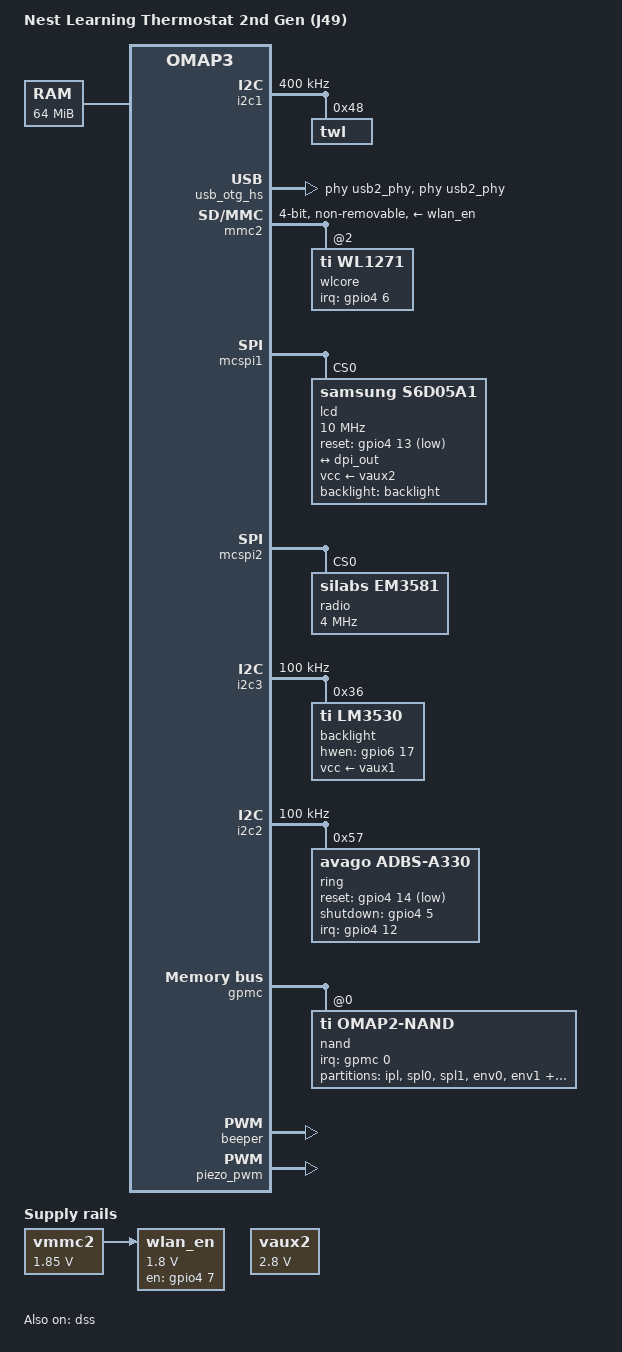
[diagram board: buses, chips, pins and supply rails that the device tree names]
// SPDX-License-Identifier: GPL-2.0-only
/*
 * Nest Learning Thermostat 2nd Gen (codename "diamond", j49)
 * SoC: OMAP3630 class (DM3730/AM3703), confirmed via CONTROL_IDCODE 0x2B89102F.
 * Minimal DT for modern-kernel first light via kexec: RAM, TWL4030 PMIC
 * (USB PHY + regulators), MUSB in peripheral mode for a USB-gadget console,
 * and ramoops + a DEBUG_LL DRAM ring as the hands-free log channels. No display/wifi/zigbee yet.
 */
/dts-v1/;

#include "omap36xx.dtsi"
#include <dt-bindings/interrupt-controller/irq.h>
#include <dt-bindings/gpio/gpio.h>
#include <dt-bindings/pinctrl/omap.h>

/ {
	model = "Nest Learning Thermostat 2nd Gen (J49)";
	compatible = "nest,j49", "ti,omap3630", "ti,omap36xx", "ti,omap3";

	cpus {
		cpu@0 {
			cpu0-supply = <&vcc>;
		};
	};

	memory@80000000 {
		device_type = "memory";
		reg = <0x80000000 0x04000000>; /* 64 MB */
	};

	reserved-memory {
		#address-cells = <1>;
		#size-cells = <1>;
		ranges;

		/*
		 * Post-mortem log regions, read back from stock via /dev/mem after the
		 * watchdog warm reset. They must sit ABOVE stock's RAM top (stock boots
		 * with mem=62M => 0x83e00000; its VRAM is the 2 MB just below that) and
		 * BELOW U-Boot's footprint: U-Boot relocates to the top of RAM and
		 * clears a ~500 KB framebuffer + heap/stack from ~0x83f03000 up to
		 * 0x84000000 on EVERY boot (measured 2026-10-27: markers at 0x83f10000+
		 * zeroed, stale data at 0x83e00000..0x83f00000 untouched). So the
		 * usable window is 0x83e00000..0x83f00000.
		 *
		 * ramoops: console-only 256 KB, ecc off (plain text). ramring: 64 KB
		 * DEBUG_LL ring (arch/arm/include/debug/ramring.S), deliberately NOT
		 * no-map so the linear mapping covers it after paging_init.
		 */
		ramoops@83e00000 {
			compatible = "ramoops";
			reg = <0x83e00000 0x00040000>; /* 256 KB, console-only */
			console-size = <0x00040000>;
		};

		ramring@83e80000 {
			reg = <0x83e80000 0x00010000>; /* 64 KB DEBUG_LL DRAM ring */
		};
	};

	chosen {
		/* No debug UART wired on this board: the panel (fbcon on tty0) is the console.
		 * Set here because stock u-boot 2012.10 has silent=1 in its default env, so its
		 * fixup_silent_linux() blanks any console= in bootargs (the kernel sees "console="
		 * = ttynull). NOTE: on a u-boot (ATAG) boot this property is only kept when the
		 * kernel has CONFIG_ARM_ATAG_DTB_COMPAT_CMDLINE_EXTEND=y (j49.cfg); with the
		 * default CMDLINE_FROM_BOOTLOADER the ATAG cmdline REPLACES it (seen 2026-11-07:
		 * backlight on, no text). A kexec boot passes its own cmdline and ignores this. */
		bootargs = "console=tty0";
	};
};

&i2c1 {
	/* 400 kHz, not the 2.6 MHz HS mode stock uses: with HS the TWL4030 NACKs
	 * every transfer after the first omap_i2c runtime-suspend (first-light log,
	 * 2026-10-27: "twl: Write failed (mod 0, reg 0xfd)", VUSB -EREMOTEIO), which
	 * also kills VBUS detection -> no g_serial enumeration. */
	clock-frequency = <400000>;
	/* Keep the I2C1 hwmod clocked and skip its (always failing, also on stock)
	 * softreset: on this board the TWL4030 NACKs on every slave address right
	 * after the first omap_i2c runtime-suspend/resume (first failure at the
	 * 2 s twl4030-usb link-status poll), which kills VBUS detection. */
	ti,no-idle;
	ti,no-reset-on-init;

	twl: twl@48 {
		reg = <0x48>;
		interrupts = <7>; /* SYS_NIRQ cascaded to intc */
		interrupt-parent = <&intc>;
		/* HFCLKIN = SYS_CLKOUT1 (19.2 MHz, PRM_CLKOUT_CTRL bit 7). clk_disable_unused()
		 * gated it in jumps 8-25 and took the PMIC off I2C1; twl-core now holds it
		 * (patch 0003) through this consumer reference. */
		clocks = <&sys_clkout1>;
		clock-names = "fck";
	};
};

#include "twl4030.dtsi"
#include "twl4030_omap3.dtsi"

&usb_otg_hs {
	interface-type = <0>;
	usb-phy = <&usb2_phy>;
	phys = <&usb2_phy>;
	phy-names = "usb2-phy";
	/* 3 = OTG. Was 2 (peripheral-only) so the gadget console always won. With
	 * OTG the role follows the ID pin: a floating ID (normal cable to a PC) is
	 * still peripheral, so boot behaviour is the same. It also lets us switch to
	 * host at runtime for a USB audio input:  echo host > .../musb-hdrc.0.auto/mode
	 * (untested on this PHY). The Nest cannot source VBUS: use a powered hub. */
	mode = <3>;
	power = <50>;
};

/* GPIO banks: the OMAP hwmod layer softresets every hwmod at init unless told
 * otherwise. On this board that wiped all stock GPIO outputs (USB-console
 * session 2026-10-28: all six banks OE=0xFFFFFFFF, DATAOUT=0 after kexec), which
 * powers down the I2C2/I2C3 sensors (ring 0x57, 0x36 both vanished), the LCD
 * and the backplate reset line. Keep the state the bootloader/stock left. */
&gpio1 { ti,no-reset-on-init; };
&gpio2 { ti,no-reset-on-init; };
&gpio3 { ti,no-reset-on-init; };
&gpio4 { ti,no-reset-on-init; };
&gpio5 { ti,no-reset-on-init; };
&gpio6 { ti,no-reset-on-init; };

/* The 0x36 device on I2C3 is powered from VAUX1 (3.0 V); stock's kexec shutdown
 * switches the LDO off and nothing in 6.6 claims it (USB session 3, 2026-10-28). */
&vaux1 {
	regulator-always-on;
};

/ {
	/* TI WL1271 power: stock drives gpio103 (its "vmmc2" GPIO) high; stock's
	 * kexec shutdown leaves it low. gpio4 bit 7 = gpio_103. */
	wlan_en: regulator-wlan-en {
		compatible = "regulator-fixed";
		regulator-name = "wlan_en";
		regulator-min-microvolt = <1800000>;
		regulator-max-microvolt = <1800000>;
		gpio = <&gpio4 7 GPIO_ACTIVE_HIGH>;
		startup-delay-us = <70000>;
		enable-active-high;
		/* Stock keeps the TWL4030 VMMC2 LDO at 1.8 V (DEV_GRP 0x2e, DEDICATED 0x05) and so does
		 * u-boot on a cold boot; tie it to WLAN_EN so the regulator core keeps it on instead of
		 * switching it off as "unused" at late init. NOTE: the cold-boot "mmc1: Failed to
		 * initialize a non-removable card" was NOT this LDO but CONTROL_DEVCONF1 bit 6
		 * (MMCSDIO2ADPCLKISEL), fixed by kernel patch 0007 (pdata-quirks, 2026-11-13). */
		vin-supply = <&vmmc2>;
	};
};

&vmmc2 {
	/* Stock programs VSEL 5 = 1.8 V, which twl-regulator.c marks UNSUP for VMMC2; the
	 * nearest supported step is 1.85 V (VSEL 6), inside the WL1271 VIO range (1.7-1.95 V). */
	regulator-min-microvolt = <1850000>;
	regulator-max-microvolt = <1850000>;
};

/* WL1271 on MMC2 (SDIO). With gpio103 high the card answered the SDIO init on
 * 6.6 but failed on "card claims to support voltages below defined range", the
 * classic missing-vmmc-supply symptom. IRQ = gpio102 ("WL127x IRQ", gpio4 bit 6,
 * level-high in stock's table). Ref clock: the board's sys clock is 19.2 MHz.
 * A cold u-boot boot additionally needs CONTROL_DEVCONF1.MMCSDIO2ADPCLKISEL (the MMC2
 * loopback input clock, set by stock, reset to 0 by a cold boot): without it the card
 * never answers ("Failed to initialize a non-removable card" at 1.6 s). Set by
 * pdata-quirks for "nest,j49" (patch 0007), the same quirk the Nokia N9/N950 use. */
&mmc2 {
	vmmc-supply = <&wlan_en>;
	bus-width = <4>;
	non-removable;
	cap-power-off-card;
	/* Keep the WL1271 powered and associated while the head unit is suspended, so a packet can
	 * wake it (stock: "wl1271_configure_wowlan ... pattern count 3"). Without this the driver
	 * does not offer wake-on-WLAN at all ("iw phy" shows none) and powers the chip off. */
	keep-power-in-suspend;
	#address-cells = <1>;
	#size-cells = <0>;
	wlcore: wlcore@2 {
		compatible = "ti,wl1271";
		reg = <2>;
		interrupt-parent = <&gpio4>;
		interrupts = <6 IRQ_TYPE_LEVEL_HIGH>;
		/* stock board-diamond.c display_2_0_net_init(): WL12XX_REFCLOCK_26_XTAL. With 19.2 MHz
			 * the firmware still "booted" but never raised its IRQ again (ELP wakeup timeout, jumps 39-44). */
			ref-clock-frequency = <26000000>;
			clock-xtal;
	};
};

/*
 * Display (stock board-diamond.c "DVT" data for the j49): Tianma TM025ZDZ01 320x320 module,
 * Samsung S6D05A1 controller on McSPI1 CS0 (9-bit SPI, mode 3, <= 10 MHz), pixels over
 * 24-bit DPI from the DSS. Reset = gpio109 active low (stock leaves it high), lcd_id = gpio105
 * (input, unused), panel VCC = TWL VAUX2 at 2.8 V ("lcd2v8"), DSS vdds_dsi = VPLL2.
 * Pad values follow the stock omap_mux dump (docs/hw/omap_mux.txt): mode 0 everywhere.
 */
&omap3_pmx_core {
	dss_dpi_pins: dss-dpi-pins {
		pinctrl-single,pins = <
			OMAP3_CORE1_IOPAD(0x20d4, PIN_OUTPUT | MUX_MODE0)   /* dss_pclk */
			OMAP3_CORE1_IOPAD(0x20d6, PIN_OUTPUT | MUX_MODE0)   /* dss_hsync */
			OMAP3_CORE1_IOPAD(0x20d8, PIN_OUTPUT | MUX_MODE0)   /* dss_vsync */
			OMAP3_CORE1_IOPAD(0x20da, PIN_OUTPUT | MUX_MODE0)   /* dss_acbias */
			OMAP3_CORE1_IOPAD(0x20dc, PIN_OUTPUT | MUX_MODE0)   /* dss_data0 */
			OMAP3_CORE1_IOPAD(0x20de, PIN_OUTPUT | MUX_MODE0)   /* dss_data1 */
			OMAP3_CORE1_IOPAD(0x20e0, PIN_OUTPUT | MUX_MODE0)   /* dss_data2 */
			OMAP3_CORE1_IOPAD(0x20e2, PIN_OUTPUT | MUX_MODE0)   /* dss_data3 */
			OMAP3_CORE1_IOPAD(0x20e4, PIN_OUTPUT | MUX_MODE0)   /* dss_data4 */
			OMAP3_CORE1_IOPAD(0x20e6, PIN_OUTPUT | MUX_MODE0)   /* dss_data5 */
			OMAP3_CORE1_IOPAD(0x20e8, PIN_OUTPUT | MUX_MODE0)   /* dss_data6 */
			OMAP3_CORE1_IOPAD(0x20ea, PIN_OUTPUT | MUX_MODE0)   /* dss_data7 */
			OMAP3_CORE1_IOPAD(0x20ec, PIN_OUTPUT | MUX_MODE0)   /* dss_data8 */
			OMAP3_CORE1_IOPAD(0x20ee, PIN_OUTPUT | MUX_MODE0)   /* dss_data9 */
			OMAP3_CORE1_IOPAD(0x20f0, PIN_OUTPUT | MUX_MODE0)   /* dss_data10 */
			OMAP3_CORE1_IOPAD(0x20f2, PIN_OUTPUT | MUX_MODE0)   /* dss_data11 */
			OMAP3_CORE1_IOPAD(0x20f4, PIN_OUTPUT | MUX_MODE0)   /* dss_data12 */
			OMAP3_CORE1_IOPAD(0x20f6, PIN_OUTPUT | MUX_MODE0)   /* dss_data13 */
			OMAP3_CORE1_IOPAD(0x20f8, PIN_OUTPUT | MUX_MODE0)   /* dss_data14 */
			OMAP3_CORE1_IOPAD(0x20fa, PIN_OUTPUT | MUX_MODE0)   /* dss_data15 */
			OMAP3_CORE1_IOPAD(0x20fc, PIN_OUTPUT | MUX_MODE0)   /* dss_data16 */
			OMAP3_CORE1_IOPAD(0x20fe, PIN_OUTPUT | MUX_MODE0)   /* dss_data17 */
			OMAP3_CORE1_IOPAD(0x2100, PIN_OUTPUT | MUX_MODE0)   /* dss_data18 */
			OMAP3_CORE1_IOPAD(0x2102, PIN_OUTPUT | MUX_MODE0)   /* dss_data19 */
			OMAP3_CORE1_IOPAD(0x2104, PIN_OUTPUT | MUX_MODE0)   /* dss_data20 */
			OMAP3_CORE1_IOPAD(0x2106, PIN_OUTPUT | MUX_MODE0)   /* dss_data21 */
			OMAP3_CORE1_IOPAD(0x2108, PIN_OUTPUT | MUX_MODE0)   /* dss_data22 */
			OMAP3_CORE1_IOPAD(0x210a, PIN_OUTPUT | MUX_MODE0)   /* dss_data23 */
		>;
	};

	mcspi1_pins: mcspi1-pins {
		pinctrl-single,pins = <
			OMAP3_CORE1_IOPAD(0x21c8, PIN_INPUT | MUX_MODE0)            /* mcspi1_clk */
			OMAP3_CORE1_IOPAD(0x21ca, PIN_OUTPUT | MUX_MODE0)           /* mcspi1_simo */
			OMAP3_CORE1_IOPAD(0x21cc, PIN_INPUT | MUX_MODE0)            /* mcspi1_somi */
			OMAP3_CORE1_IOPAD(0x21ce, PIN_INPUT_PULLDOWN | MUX_MODE0)   /* mcspi1_cs0 */
		>;
	};

	/*
	 * McSPI2 CS0 = EM357 Thread/ConnectIP radio (spinel NCP over SPI, stock
	 * /dev/spidev2.0). Pad values copied verbatim from the stock 2.6.37 board
	 * file (docs/hw/omap_mux.txt, stock-pads dump): clk/somi input mode0,
	 * simo/cs0 output mode0. CS0 stays MUX_MODE0 = McSPI hardware chipselect
	 * (the force-bootload trick in /etc/init.d/em357 temporarily flips this same
	 * pad to MODE4 = gpio181 to hold SS low; normal NCP traffic uses HW CS0).
	 */
	mcspi2_pins: mcspi2-pins {
		pinctrl-single,pins = <
			OMAP3_CORE1_IOPAD(0x21d6, PIN_INPUT | MUX_MODE0)    /* mcspi2_clk  */
			OMAP3_CORE1_IOPAD(0x21d8, PIN_OUTPUT | MUX_MODE0)   /* mcspi2_simo */
			OMAP3_CORE1_IOPAD(0x21da, PIN_INPUT | MUX_MODE0)    /* mcspi2_somi */
			OMAP3_CORE1_IOPAD(0x21dc, PIN_OUTPUT | MUX_MODE0)   /* mcspi2_cs0 (HW chipselect) */
		>;
	};
};

&vaux2 {
	regulator-min-microvolt = <2800000>;
	regulator-max-microvolt = <2800000>;
};

&dss {
	pinctrl-names = "default";
	pinctrl-0 = <&dss_dpi_pins>;
	status = "okay";
	vdds_dsi-supply = <&vpll2>;

	port {
		dpi_out: endpoint {
			remote-endpoint = <&lcd_in>;
			data-lines = <24>;
		};
	};
};

&mcspi1 {
	pinctrl-names = "default";
	pinctrl-0 = <&mcspi1_pins>;
	status = "okay";

	lcd: panel@0 {
		compatible = "samsung,s6d05a1";
		reg = <0>;
		spi-max-frequency = <10000000>;
		spi-cpol;
		spi-cpha;
		vcc-supply = <&vaux2>;
		reset-gpios = <&gpio4 13 GPIO_ACTIVE_LOW>;	/* gpio109 LCD #RESET */
		backlight = <&backlight>;
		label = "lcd";

		port {
			lcd_in: endpoint {
				remote-endpoint = <&dpi_out>;
			};
		};
	};
};

/*
 * McSPI2 CS0 = EM357 Thread radio (spinel NCP over SPI). This is the stock
 * /dev/spidev2.0 (McSPI2 @ 0x4809a000, CS0). The on-chip firmware is Nest
 * "ConnectIP" (ip-modem-app.bin), already flashed; no radio reflash is needed.
 *
 * Driver binding: "silabs,em3581" is on the upstream spidev of_device_id
 * whitelist (drivers/spi/spidev.c spidev_dt_ids in 6.6.64) -- it is the Silabs
 * Ember NCP entry, so the spidev driver binds to this node WITHOUT any driver
 * patch and WITHOUT a manual /sys/bus/spi/drivers/spidev/bind step, giving
 * /dev/spidev2.0. CONFIG_SPI_SPIDEV=y is set in j49.cfg.
 *
 * Chipselect: HW CS0 (mcspi2_cs0 pad MUX_MODE0), matching stock. spi-server
 * opens /dev/spidev2.0 and sets the real SPI speed/mode via ioctl, so
 * spi-max-frequency here is only the ceiling. The radio reset(gpio61),
 * host interrupt(gpio182) and wake lines are driven by spi-server from
 * userspace via sysfs-exported GPIOs -- they are NOT claimed in this node, and
 * their pads are muxed as GPIO (MODE4) by nest_core_pins below.
 */
&mcspi2 {
	pinctrl-names = "default";
	pinctrl-0 = <&mcspi2_pins>;
	status = "okay";

	radio@0 {
		compatible = "silabs,em3581";
		reg = <0>;			/* HW chipselect CS0 */
		spi-max-frequency = <4000000>;	/* ceiling only; spi-server sets the real rate/mode */
	};
};

/*
 * Backlight: LM3530 on I2C3 at 0x36 in manual I2C mode (stock lm3530-backlight.0:
 * GEN_CONFIG 0x1d = 29.5 mA full scale, max 0x78, cmdline brightness=108). HWEN is
 * gpio177 (gpio6 bit 17, stock "lm3530 enable" high) and the chip is powered from
 * VAUX1: it only answers on the bus with both asserted (USB session 3 / jump 36).
 * Stock's kexec shutdown leaves gpio177 low, so the driver must raise it itself.
 */
&i2c3 {
	clock-frequency = <100000>;	/* default that the 6.6 USB sessions scanned 0x36 with */

	backlight: backlight@36 {
		compatible = "ti,lm3530";
		reg = <0x36>;
		hwen-gpios = <&gpio6 17 GPIO_ACTIVE_HIGH>;	/* gpio177 */
		vcc-supply = <&vaux1>;
		default-brightness = <108>;
		max-brightness = <120>;
	};
};

/*
 * Ring rotation: Avago ADBS-A330 optical finger-nav sensor on I2C2 at 0x57
 * (driver patch 0008, compatible "avago,adbs-a330"; reports REL_X/REL_Y on its
 * MOTION# interrupt). The i2c2 pads are already hogged MODE0 in nest_core_pins,
 * and MOTION#/RESET#/SHUTDOWN are muxed as GPIO (MODE4) there too, so this node
 * needs no pinctrl of its own. gpio bank4 base = gpio96.
 */
&i2c2 {
	clock-frequency = <100000>;

	ring: ring-sensor@57 {
		compatible = "avago,adbs-a330";
		reg = <0x57>;
		interrupts-extended = <&gpio4 12 IRQ_TYPE_EDGE_FALLING>;	/* MOTION# gpio108 (cam_d9) */
		reset-gpios = <&gpio4 14 GPIO_ACTIVE_LOW>;		/* RESET#  gpio110 (cam_d11) */
		shutdown-gpios = <&gpio4 5 GPIO_ACTIVE_HIGH>;		/* SHUTDOWN gpio101 (cam_d2) */
		wakeup-source;
	};
};

/*
 * NAND: Micron MT29F2G16ABBEAH4 (256 MiB, 16-bit) on GPMC CS0, stock layout from
 * board-diamond.c / docs/flash-layout.md. DISABLED until the ECC format is sorted
 * out: stock 2.6.37 uses OMAP_ECC_BCH4_CODE_HW = raw GPMC BCH4 syndromes (7 B per
 * 512 B sector, 28 B per page) stored at the END of the 64 B OOB (bytes 36..63),
 * no constant polynomial. Mainline's "bch4" (BCH4_CODE_HW_DETECTION_SW, no ELM on
 * OMAP3) puts the 28 B right after the bad-block marker (2..29) and adds the
 * erased-page polynomial, so it cannot read stock partitions nor write a B slot
 * the stock U-Boot can boot. Needs a compat ECC variant in omap2.c first.
 * GPMC timings below are the omap3-beagle (Micron) values, to be replaced by the
 * live GPMC_CONFIG1..6 of CS0 (0x6e000060..0x74) read from stock.
 */
/* cpufreq: OPP50 300 MHz and OPP100 600 MHz are proven on this board (jump 66: VDD1 via the
 * twl regulator follows, 1.0125 / 1.200 V). OPP130 800 MHz (1.325 V + ABB forward body bias)
 * kills the CPU silently the moment it is selected (jumps 60/61/66) and ondemand picks the
 * max OPP under boot load, so keep it out until the ABB/voltage path is understood. */
&cpu0_opp_table {
	/* Run OPP50 at the OPP100 voltage. The twl regulator has no ramp_delay, so the OPP
	 * core raises the DPLL the instant the VSEL write is out while VDD1 is still slewing
	 * 1.0125 -> 1.2 V; under ondemand's rapid boot-time transitions that races and the CPU
	 * dies silently (jumps 60/61/67/68). Stock also idles at 300 MHz with VDD1 at 1.2 V. */
	opp-50-300000000 {
		opp-microvolt = <1200000 1200000 1200000>,
				<1200000 1200000 1200000>;
	};
	opp-130-800000000 {
		status = "disabled";
	};
};

&gpmc {
	/* Was "disabled" from the kexec/initramfs era (keep NAND untouched during jumps).
	 * The NAND B slot boots root1 FROM this controller: every B-slot DTB built from this
	 * file with GPMC disabled had no /dev/mtd* at all, so root never mounted and the boot
	 * looked like an early-sysinit stall (2026-11-07/08, b12..b14: timing proof via
	 * rootdelay panic at ~10 s). The 11-01 nand15 DTB that reached userspace had it okay. */
	status = "okay";
	ranges = <0 0 0x30000000 0x1000000>;	/* CS0 space, 16 MB */

	nand@0,0 {
		compatible = "ti,omap2-nand";
		reg = <0 0 4>;
		interrupt-parent = <&gpmc>;
		interrupts = <0 IRQ_TYPE_NONE>,	/* fifoevent */
			     <1 IRQ_TYPE_NONE>;	/* termcount */
		/* bch4 is self-consistent for root1, which the modern kernel owns (writes +
		 * reads with this same ECC). boot1 is written from stock in stock BCH4 and
		 * read only by stock u-boot, so no compat-ECC read is needed here. See
		 * docs/flash-layout.md "NAND B-slot bring-up strategy". */
		ti,nand-ecc-opt = "bch4";
		nand-bus-width = <16>;
		gpmc,device-width = <2>;
		gpmc,cs-on-ns = <0>;
		gpmc,cs-rd-off-ns = <36>;
		gpmc,cs-wr-off-ns = <36>;
		gpmc,adv-on-ns = <6>;
		gpmc,adv-rd-off-ns = <24>;
		gpmc,adv-wr-off-ns = <36>;
		gpmc,oe-on-ns = <6>;
		gpmc,oe-off-ns = <48>;
		gpmc,we-on-ns = <6>;
		gpmc,we-off-ns = <30>;
		gpmc,rd-cycle-ns = <72>;
		gpmc,wr-cycle-ns = <72>;
		gpmc,access-ns = <54>;
		gpmc,wr-access-ns = <30>;

		partitions {
			compatible = "fixed-partitions";
			#address-cells = <1>;
			#size-cells = <1>;

			ipl@0            { label = "ipl";           reg = <0x00000000 0x00040000>; read-only; };
			spl0@40000       { label = "spl0";          reg = <0x00040000 0x00180000>; read-only; };
			spl1@1c0000      { label = "spl1";          reg = <0x001c0000 0x00180000>; read-only; };
			env0@340000      { label = "env0";          reg = <0x00340000 0x00060000>; };
			env1@3a0000      { label = "env1";          reg = <0x003a0000 0x00060000>; };
			boot0@400000     { label = "boot0";         reg = <0x00400000 0x00800000>; read-only; };
			root0@c00000     { label = "root0";         reg = <0x00c00000 0x02e00000>; read-only; };
			/* boot1 is 8 MB in the stock layout; the modern uImage is ~4.7 MB, so its tail
			 * (last 3 MB, see oops@3f00000 below) is lent to mtdoops as a hands-free kernel
			 * post-mortem channel. Stock u-boot only reads the uImage size from 0x3a00000. */
			boot1@3a00000    { label = "boot1";         reg = <0x03a00000 0x00500000>; };
			root1@4200000    { label = "root1";         reg = <0x04200000 0x02e00000>; };
			sysconf@7000000  { label = "system-config"; reg = <0x07000000 0x00400000>; };
			userconf@7400000 { label = "user-config";   reg = <0x07400000 0x00800000>; };
			data@7c00000     { label = "data";          reg = <0x07c00000 0x01400000>; };
			log@9000000      { label = "log";           reg = <0x09000000 0x01400000>; };
			scratch@a400000  { label = "scratch";       reg = <0x0a400000 0x05c00000>; };
			/* Appended LAST so the numbering above (root1 = mtd8, CONFIG_CMDLINE) is unchanged:
			 * mtdoops.mtddev=oops -> kernel panic/oops kmsg records (bring-up; raw-readable from
			 * stock with nanddump -n on the 8 MB stock boot1 partition at offset 5 MB). */
			oops@3f00000     { label = "oops";          reg = <0x03f00000 0x00300000>; };
		};
	};
};

/*
 * Pads the stock 2.6.37 board file muxes for the peripherals we drive and that stock u-boot
 * leaves at reset defaults (register values read from stock's /sys/kernel/debug/omap_mux,
 * 2026-11-07). Without them a cold NAND boot had no WLAN (gpio103 WLAN_EN still a camera pad ->
 * "mmc1: Failed to initialize a non-removable card") and no backlight (i2c3 pads + gpio177 HWEN
 * unmuxed -> "omap_i2c 48060000.i2c: controller timed out"); the kexec jumps inherited stock's
 * mux and worked. Hogged on the pinmux controllers so the pads are set before any driver probes.
 */
&omap3_pmx_core {
	pinctrl-names = "default";
	pinctrl-0 = <&nest_core_pins>;

	nest_core_pins: nest-core-pins {
		pinctrl-single,pins = <
			0x00ec 0x771c	/* cam_d3  -> gpio_102  WL127x IRQ (input pullup, wakeup) */
			0x00ee 0x3604	/* cam_d4  -> gpio_103  WLAN_EN / "vmmc2" (output) */
			0x00f2 0x371c	/* cam_d6  -> gpio_105  s6d05a1 lcd_id (input pullup) */
			0x00fa 0x1604	/* cam_d10 -> gpio_109  s6d05a1 reset (output) */
			0x00fc 0x0004	/* cam_d11 -> gpio_110  ADBS A330 reset# (output) */
			0x00f8 0x4104	/* cam_d9  -> gpio_108  ADBS A330 motion# (input, OFF_WAKEUPEN, mode4) */
			0x00ea 0x0004	/* cam_d2  -> gpio_101  ADBS A330 shutdown  (output, mode4) */
			0x008c 0x0003	/* gpmc_ncs7 -> gpt8_pwm_evt  PIEZO beeper (output, mode3) */
			0x0128 0x0118	/* sdmmc2_clk  (input pullup, mode0) */
			0x012a 0x0118	/* sdmmc2_cmd */
			0x012c 0x0118	/* sdmmc2_dat0 */
			0x012e 0x0118	/* sdmmc2_dat1 */
			0x0130 0x0118	/* sdmmc2_dat2 */
			0x0132 0x0118	/* sdmmc2_dat3 */
			0x018e 0x0100	/* i2c2_scl (input, mode0) */
			0x0190 0x0100	/* i2c2_sda */
			0x0192 0x0100	/* i2c3_scl */
			0x0194 0x0100	/* i2c3_sda */
			0x014c 0x0000	/* uart1_tx (output, mode0) -- physical debug UART (ttyS0), same as stock u-boot/ttyO0 */
			0x0152 0x0118	/* uart1_rx (input pullup, mode0) -- debug UART RX; stock also muxes these dedicated pads */
			0x01a4 0x0204	/* mcspi1_cs3 -> gpio_177  lm3530 HWEN (output) */
			/* EM357 Thread radio control lines, muxed as GPIO (MODE4) only --
			 * NOT requested by any kernel driver, so spi-server can sysfs-export
			 * them. Values copied verbatim from the stock board file / pad dump. */
			0x0098 0x0204	/* gpmc_nbe1  -> gpio_61   ZigBee Reset#   (output, mode4) */
			0x01ae 0x3704	/* mcspi2_cs1 -> gpio_182  ZigBee Interrupt (input pullup, wakeup, mode4) */
		>;
	};
};

&omap3_pmx_wkup {
	pinctrl-names = "default";
	pinctrl-0 = <&nest_wkup_pins>;

	nest_wkup_pins: nest-wkup-pins {
		pinctrl-single,pins = <
			0x001a 0x0018	/* sys_clkout1 (output, mode0): 19.2 MHz to TWL HFCLKIN / WL1271 ref */
		>;
	};
};

/*
 * Piezo click beeper: head-unit OMAP GPT8 PWM on gpmc_ncs7 (ball g4, pad hogged
 * MODE3 = gpt8_pwm_evt in nest_core_pins above). Stock drives a 2000 Hz / 3 ms
 * click as EV_SND/SND_TONE to a pwm-beeper; userspace emits it per ring detent.
 * timer8 is free on this board (clockevent/source use timer1). Root-node adds
 * merge into the tree.
 */
&{/} {
	beeper: pwm-beeper {
		compatible = "pwm-beeper";
		pwms = <&piezo_pwm 0 500000 0>;	/* period 500000 ns = 2 kHz default; driver sets tone */
	};

	piezo_pwm: pwm-8 {
		compatible = "ti,omap-dmtimer-pwm";
		ti,timers = <&timer8>;
		#pwm-cells = <3>;
		ti,clock-source = <0x01>;	/* 32 kHz source, enough for click tones */
	};
};

/*
 * UART3 is the link to the backplate. Give it the RX pad as a wake interrupt, so backplate
 * traffic (a sensor event after 0xa1/0xa4, or the plain 1 Hz stream) wakes a suspended head
 * unit. Without this the UART interrupt is masked during suspend: measured 2026-11-25, 60 s of
 * 1 Hz backplate frames did not wake the board, only the RTC alarm did. The pad itself keeps
 * the bootloader mux (uart3_rx_irrx, 0x219e = 0x0100, input mode 0).
 */
&uart3 {
	interrupts-extended = <&intc 74 &omap3_pmx_core OMAP3_UART3_RX>;
};
